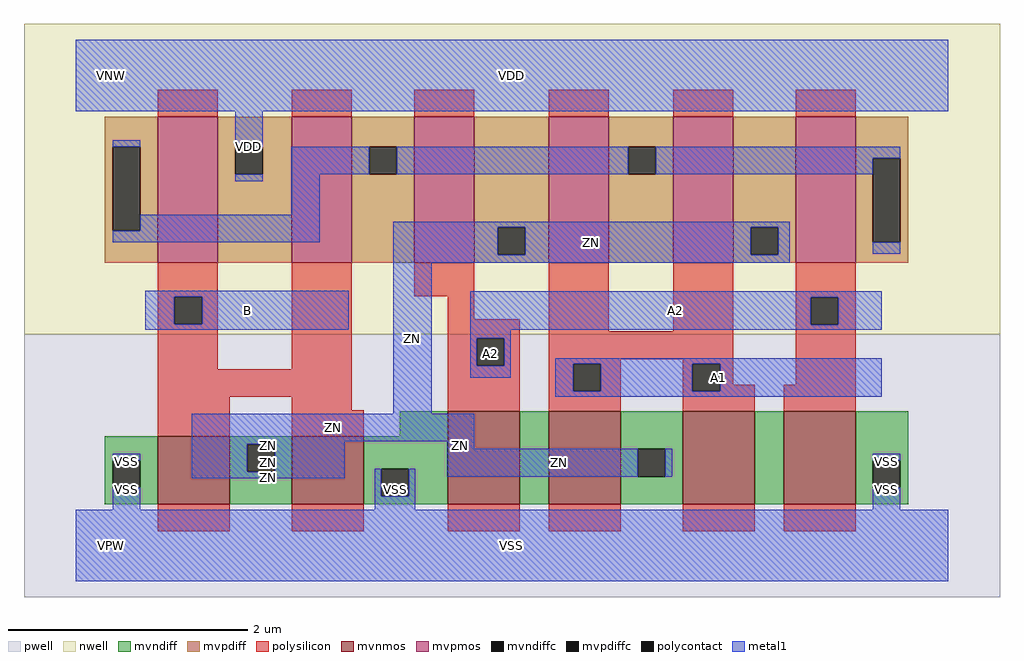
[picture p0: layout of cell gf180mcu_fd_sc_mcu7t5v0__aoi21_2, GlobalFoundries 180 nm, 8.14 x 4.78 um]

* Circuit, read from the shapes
.subckt gf180mcu_fd_sc_mcu7t5v0__aoi21_2 A1 A2 B ZN VDD VNW VPW VSS
XM1 ZN B VSS VPW nfet_06v0 w=0.565u l=0.6u m=2
XM2 n1 A2 VSS VPW nfet_06v0 w=0.775u l=0.6u
XM3 ZN A1 n1 VPW nfet_06v0 w=0.775u l=0.6u
XM4 n2 A1 ZN VPW nfet_06v0 w=0.775u l=0.6u
XM5 VSS A2 n2 VPW nfet_06v0 w=0.775u l=0.6u
XM6 VDD B n3 VNW pfet_06v0 w=1.215u l=0.5u m=2
XM7 ZN A2 n3 VNW pfet_06v0 w=1.215u l=0.5u m=2
XM8 n3 A1 ZN VNW pfet_06v0 w=1.215u l=0.5u m=2
.ends

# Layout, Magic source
magic
tech gf180mcuD
magscale 1 10
<< nwell >>
rect -86 352 1542 870
<< pwell >>
rect -86 -86 1542 352
<< mvnmos >>
rect 137 69 257 182
rect 361 69 481 182
rect 621 69 741 224
rect 789 69 909 224
rect 1013 69 1133 224
rect 1181 69 1301 224
<< mvpmos >>
rect 137 472 237 715
rect 361 472 461 715
rect 565 472 665 715
rect 789 472 889 715
rect 997 472 1097 715
rect 1201 472 1301 715
<< mvndiff >>
rect 541 182 621 224
rect 49 142 137 182
rect 49 96 62 142
rect 108 96 137 142
rect 49 69 137 96
rect 257 169 361 182
rect 257 123 286 169
rect 332 123 361 169
rect 257 69 361 123
rect 481 128 621 182
rect 481 82 510 128
rect 556 82 621 128
rect 481 69 621 82
rect 741 69 789 224
rect 909 161 1013 224
rect 909 115 938 161
rect 984 115 1013 161
rect 909 69 1013 115
rect 1133 69 1181 224
rect 1301 142 1389 224
rect 1301 96 1330 142
rect 1376 96 1389 142
rect 1301 69 1389 96
<< mvpdiff >>
rect 49 665 137 715
rect 49 525 62 665
rect 108 525 137 665
rect 49 472 137 525
rect 237 665 361 715
rect 237 619 266 665
rect 312 619 361 665
rect 237 472 361 619
rect 461 665 565 715
rect 461 619 490 665
rect 536 619 565 665
rect 461 472 565 619
rect 665 531 789 715
rect 665 485 704 531
rect 750 485 789 531
rect 665 472 789 485
rect 889 665 997 715
rect 889 619 922 665
rect 968 619 997 665
rect 889 472 997 619
rect 1097 531 1201 715
rect 1097 485 1126 531
rect 1172 485 1201 531
rect 1097 472 1201 485
rect 1301 646 1389 715
rect 1301 506 1330 646
rect 1376 506 1389 646
rect 1301 472 1389 506
<< mvndiffc >>
rect 62 96 108 142
rect 286 123 332 169
rect 510 82 556 128
rect 938 115 984 161
rect 1330 96 1376 142
<< mvpdiffc >>
rect 62 525 108 665
rect 266 619 312 665
rect 490 619 536 665
rect 704 485 750 531
rect 922 619 968 665
rect 1126 485 1172 531
rect 1330 506 1376 646
<< polysilicon >>
rect 137 715 237 760
rect 361 715 461 760
rect 565 715 665 760
rect 789 715 889 760
rect 997 715 1097 760
rect 1201 715 1301 760
rect 137 415 237 472
rect 137 369 165 415
rect 211 369 237 415
rect 137 294 237 369
rect 361 294 461 472
rect 565 416 665 472
rect 137 248 461 294
rect 137 182 257 248
rect 361 226 461 248
rect 621 377 665 416
rect 621 346 741 377
rect 621 300 669 346
rect 715 300 741 346
rect 361 182 481 226
rect 621 224 741 300
rect 789 357 889 472
rect 997 357 1097 472
rect 789 311 1097 357
rect 789 303 909 311
rect 789 257 830 303
rect 876 257 909 303
rect 789 224 909 257
rect 1013 303 1097 311
rect 1013 257 1029 303
rect 1075 268 1097 303
rect 1201 414 1301 472
rect 1201 368 1226 414
rect 1272 368 1301 414
rect 1201 268 1301 368
rect 1075 257 1133 268
rect 1013 224 1133 257
rect 1181 224 1301 268
rect 137 24 257 69
rect 361 24 481 69
rect 621 24 741 69
rect 789 24 909 69
rect 1013 24 1133 69
rect 1181 24 1301 69
<< polycontact >>
rect 165 369 211 415
rect 669 300 715 346
rect 830 257 876 303
rect 1029 257 1075 303
rect 1226 368 1272 414
<< metal1 >>
rect 0 724 1456 844
rect 62 665 108 676
rect 266 665 312 724
rect 266 608 312 619
rect 360 619 490 665
rect 536 619 922 665
rect 968 646 1376 665
rect 968 619 1330 646
rect 360 552 407 619
rect 108 525 407 552
rect 62 506 407 525
rect 530 531 1191 540
rect 530 485 704 531
rect 750 485 1126 531
rect 1172 485 1191 531
rect 1330 487 1376 506
rect 530 472 1191 485
rect 116 415 456 425
rect 116 369 165 415
rect 211 369 456 415
rect 116 360 456 369
rect 530 220 594 472
rect 658 414 1345 424
rect 658 368 1226 414
rect 1272 368 1345 414
rect 658 360 1345 368
rect 658 346 726 360
rect 658 300 669 346
rect 715 300 726 346
rect 658 280 726 300
rect 800 303 1345 312
rect 800 257 830 303
rect 876 257 1029 303
rect 1075 257 1345 303
rect 800 248 1345 257
rect 194 174 665 220
rect 194 169 449 174
rect 62 142 108 153
rect 194 123 286 169
rect 332 123 449 169
rect 619 161 665 174
rect 194 112 449 123
rect 62 60 108 96
rect 499 82 510 128
rect 556 82 567 128
rect 619 115 938 161
rect 984 115 995 161
rect 1330 142 1376 153
rect 499 60 567 82
rect 1330 60 1376 96
rect 0 -60 1456 60
<< labels >>
flabel metal1 s 116 360 456 425 0 FreeSans 400 0 0 0 B
port 3 nsew default input
flabel metal1 s 0 724 1456 844 0 FreeSans 400 0 0 0 VDD
port 5 nsew power bidirectional abutment
flabel metal1 s 1330 128 1376 153 0 FreeSans 400 0 0 0 VSS
port 8 nsew ground bidirectional abutment
flabel metal1 s 530 472 1191 540 0 FreeSans 400 0 0 0 ZN
port 4 nsew default output
flabel metal1 s 800 248 1345 312 0 FreeSans 400 0 0 0 A1
port 1 nsew default input
flabel metal1 s 658 360 1345 424 0 FreeSans 400 0 0 0 A2
port 2 nsew default input
flabel nwell s 10 734 110 834 0 FreeSans 400 0 0 0 VNW
port 6 nsew power bidirectional
flabel pwell s 10 -50 110 50 0 FreeSans 400 0 0 0 VPW
port 7 nsew ground bidirectional
rlabel metal1 s 658 280 726 360 1 A2
port 2 nsew default input
rlabel metal1 s 530 220 594 472 1 ZN
port 4 nsew default output
rlabel metal1 s 194 174 665 220 1 ZN
port 4 nsew default output
rlabel metal1 s 619 161 665 174 1 ZN
port 4 nsew default output
rlabel metal1 s 194 161 449 174 1 ZN
port 4 nsew default output
rlabel metal1 s 619 115 995 161 1 ZN
port 4 nsew default output
rlabel metal1 s 194 115 449 161 1 ZN
port 4 nsew default output
rlabel metal1 s 194 112 449 115 1 ZN
port 4 nsew default output
rlabel metal1 s 266 608 312 724 1 VDD
port 5 nsew power bidirectional abutment
rlabel metal1 s 62 128 108 153 1 VSS
port 8 nsew ground bidirectional abutment
rlabel metal1 s 1330 60 1376 128 1 VSS
port 8 nsew ground bidirectional abutment
rlabel metal1 s 499 60 567 128 1 VSS
port 8 nsew ground bidirectional abutment
rlabel metal1 s 62 60 108 128 1 VSS
port 8 nsew ground bidirectional abutment
rlabel metal1 s 0 -60 1456 60 1 VSS
port 8 nsew ground bidirectional abutment
<< properties >>
string FIXED_BBOX 0 0 1456 784
string GDS_END 1255458
string GDS_FILE $PDKPATH/libs.ref/gf180mcu_fd_sc_mcu7t5v0/gds/gf180mcu_fd_sc_mcu7t5v0.gds
string GDS_START 1251602
string LEFclass core
string LEFsite GF018hv5v_mcu_sc7
string LEFsymmetry X Y
<< end >>
